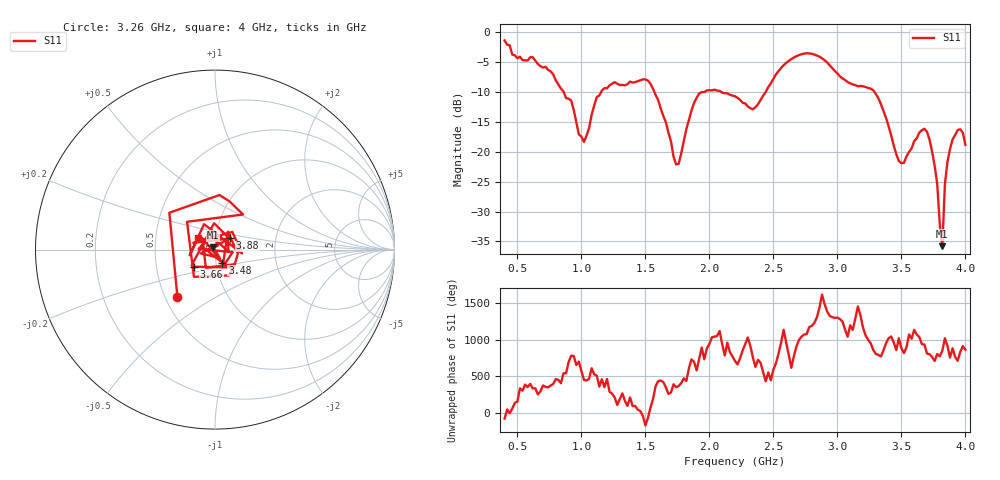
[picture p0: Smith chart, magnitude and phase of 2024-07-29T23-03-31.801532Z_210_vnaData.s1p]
!Created with skrf (http://scikit-rf.org).
# Hz S RI R 50.0
!freq ReS11 ImS11
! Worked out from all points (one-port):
!   181 points, 400 MHz to 4 GHz, reference 50 ohm
!   lowest |S11| = -35.8 dB at 3.82 GHz (marker M1), VSWR 1.03, Z = 49 + j1.23 ohm
!   |S11| at or under -10 dB: 1.57 GHz to 1.962 GHz (391.9 MHz wide, 22.2 % of centre); 2.093 GHz to 2.44 GHz (347.6 MHz wide, 15.3 % of centre); 3.29 GHz to end of sweep (the widest 3 of 4)
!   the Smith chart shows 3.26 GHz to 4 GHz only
!   S11 on the Smith chart (normalised r, x): 3.26 GHz: 0.58, -0.34; 3.48 GHz: 1.07, -0.16; 3.66 GHz: 0.78, -0.15; 3.88 GHz: 1.18, +0.15; 4 GHz: 0.82, +0.11
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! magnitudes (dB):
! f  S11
! 400 MHz  -1.4
! 720 MHz  -5.8
! 860 MHz  -9.9
! 920 MHz  -11.4
! 1.02 GHz  -18.4
! 1.12 GHz  -10.8
! 1.3 GHz  -8.9
! 1.54 GHz  -8.6
! 1.76 GHz  -22.0
! 1.86 GHz  -13.1
! 1.92 GHz  -10.3
! 2.2 GHz  -10.7
! 2.34 GHz  -12.9
! 2.66 GHz  -4.2
! 2.86 GHz  -4.1
! 3.1 GHz  -8.6
! 3.26 GHz  -9.4
! 3.34 GHz  -12.0
! 3.48 GHz  -21.5
! 3.56 GHz  -20.0
! 3.66 GHz  -16.4
! 3.7 GHz  -16.6
! 3.76 GHz  -22.4
! 3.82 GHz  -35.8
! 3.84 GHz  -25.4
! 3.88 GHz  -19.5
! 3.94 GHz  -16.4
! 4 GHz  -18.8
